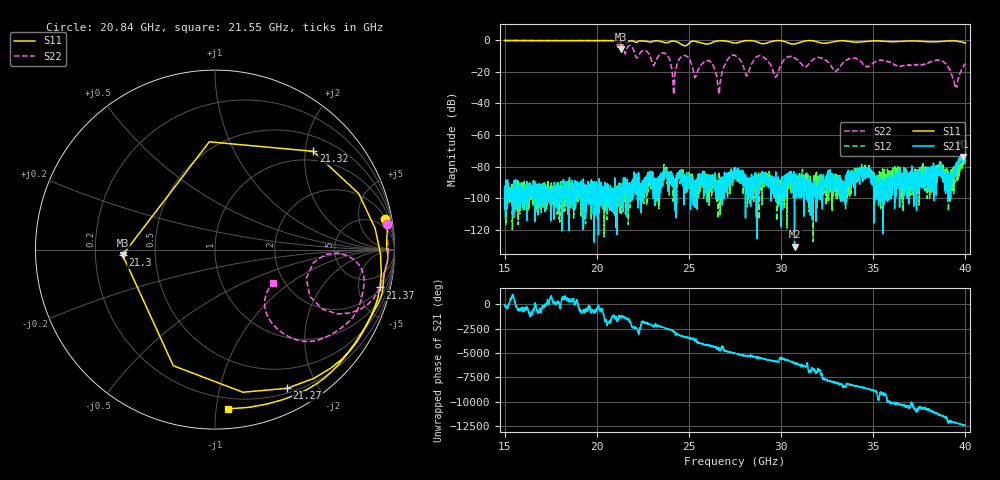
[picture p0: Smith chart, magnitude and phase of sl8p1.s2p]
#  HZ  S  RI  R  50.00
! Rohde & Schwarz Vector Network Analyzer
! Rohde-Schwarz,ZNA43-4Port,1332450044101932,2.92
! Created: UTC 4/16/2025, 7:38:31 AM
! freq[Hz]  re:S11  im:S11  re:S21  im:S21  re:S12  im:S12  re:S22  im:S22
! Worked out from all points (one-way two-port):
!   2501 points, 15 GHz to 40 GHz, reference 50 ohm
!   highest |S21| = -73.61 dB at 39.87 GHz (marker M1); lowest = -130.6 dB at 30.73 GHz (marker M2)
!   lowest |S11| = -5.8 dB at 21.3 GHz (marker M3), VSWR 3.13, Z = 16 - j1.32 ohm
!   |S11| at or under -10 dB: nowhere
!   |S22| runs from -34.4 to -0.2 dB; largest |S21 - S12| = 0.00019
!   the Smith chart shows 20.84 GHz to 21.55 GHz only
!   S11 on the Smith chart (normalised r, x): 20.84 GHz: 2, +11; 21.27 GHz: 0.25, -1.62; 21.3 GHz: 0.32, -0.03; 21.32 GHz: 0.79, +2.17; 21.37 GHz: 2.17, -8.28; 21.55 GHz: 0.13, -1.08
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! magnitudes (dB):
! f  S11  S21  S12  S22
! 15 GHz  -0.2  -100.7  -94.1  -0.3
! 19.17 GHz  -0.3  -92.1  -93.7  -0.3
! 20.84 GHz  -0.3  -102.8  -102.6  -0.3
! 21.27 GHz  -1.2  -92.2  -90.2  -1.3
! 21.3 GHz  -5.8  -101.7  -98.5  -1.3
! 21.32 GHz  -2.2  -93.3  -109.5  -1.3
! 21.37 GHz  -0.5  -95.8  -96.4  -1.8
! 21.55 GHz  -1.0  -93.2  -97.9  -8.6
! 23.34 GHz  -0.6  -88.6  -93.8  -10.2
! 24.18 GHz  -0.6  -90.0  -89.5  -33.7
! 24.67 GHz  -3.2  -85.5  -85.7  -10.0
! 26.09 GHz  -2.3  -92.0  -90.5  -13.2
! 26.63 GHz  -0.4  -91.4  -90.6  -33.6
! 27.5 GHz  -1.7  -86.5  -87.6  -9.5
! 29.71 GHz  -0.4  -83.2  -92.7  -23.3
! 30.73 GHz  -2.4  -130.6  -86.2  -11.2
! 31.67 GHz  -0.3  -94.5  -92.1  -12.9
! 35.84 GHz  -0.9  -91.4  -86.9  -13.5
! 38.68 GHz  -0.8  -81.7  -81.5  -12.8
! 39.46 GHz  -0.6  -82.5  -81.9  -29.4
! 39.87 GHz  -1.3  -73.6  -76.9  -17.1
! 40 GHz  -1.7  -76.6  -76.7  -14.8
